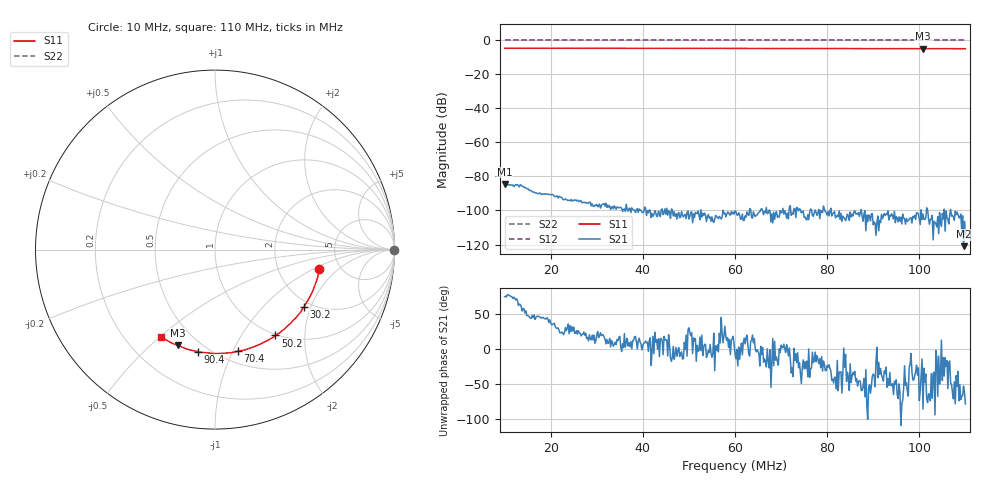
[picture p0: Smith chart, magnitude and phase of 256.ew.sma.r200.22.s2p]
! Anritsu VNA Master:  Model: MS2036C/10/77
! SN:  1601066
! /card0/usr/256.ew.sma.r200.22.s2p
! Existing Calibration Information:
! TYPE:  Current Settings,  Active Cal Settings
! TIME:  12/19/2017 02:46:55 PM,  12/19/2017 02:22:10 PM
! INTERNAL TEMP:  46.3 C,  45.0 C
! # POINTS:  501,  501
! START FREQ:  10.000 MHz,  10.000 MHz
! STOP FREQ:  110.000 MHz,  110.000 MHz
! SOURCE POWER:  High,  High
! IFBW:  100 Hz,  100 Hz
! AVG FACTOR:  1 ,  1
! REF PLANE 1:  0 mm,  0 mm
! REF PLANE 2:  0 mm,  0 mm
! CAL TYPE:  Full S11,  Full S11
! CAL METHOD:  SOLT,  SOLT
! CAL LINE TYPE:  Coax,  Coax
! DUT PORT 1:  N-Conn(F),  N-Conn(F)
! DUT PORT 2:  K-Conn(F),  K-Conn(F)
! CAL STATUS:  OK: Accuracy High,  --
# GHZ S DB R 50.0
! FREQ.GHZ  S11DB  S11A  S21DB  S21A  S12DB  S12A  S22DB  S22A
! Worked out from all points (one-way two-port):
!   501 points, 10 MHz to 110 MHz, reference 50 ohm
!   highest |S21| = -84.46 dB at 10 MHz (marker M1); lowest = -121.0 dB at 109.6 MHz (marker M2)
!   lowest |S11| = -4.9 dB at 100.8 MHz (marker M3), VSWR 3.66, Z = 19.3 - j30.5 ohm
!   |S11| at or under -10 dB: nowhere
!   |S22| runs from 0.0 to 0.0 dB; largest |S21 - S12| = 1
!   S11 on the Smith chart (normalised r, x): 10 MHz: 3.47, -1.17; 30.2 MHz: 1.83, -1.79; 50.2 MHz: 0.98, -1.43; 70.4 MHz: 0.61, -1.05; 90.4 MHz: 0.44, -0.75; 110 MHz: 0.35, -0.50
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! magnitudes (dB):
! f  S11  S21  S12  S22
! 10 MHz  -4.6  -84.5  0.0  0.0
! 14.6 MHz  -4.5  -86.7  0.0  0.0
! 26.8 MHz  -4.6  -95.5  0.0  0.0
! 30.2 MHz  -4.6  -97.8  0.0  0.0
! 33.2 MHz  -4.6  -98.2  0.0  0.0
! 38.8 MHz  -4.6  -98.9  0.0  0.0
! 43.4 MHz  -4.6  -100.3  0.0  0.0
! 44.6 MHz  -4.6  -101.3  0.0  0.0
! 50.2 MHz  -4.7  -103.5  0.0  0.0
! 51.8 MHz  -4.6  -101.8  0.0  0.0
! 60 MHz  -4.7  -100.2  0.0  0.0
! 66.6 MHz  -4.7  -101.3  0.0  0.0
! 70.4 MHz  -4.7  -98.8  0.0  0.0
! 76.8 MHz  -4.7  -103.0  0.0  0.0
! 81.2 MHz  -4.7  -101.7  0.0  0.0
! 90.4 MHz  -4.8  -107.5  0.0  0.0
! 93.4 MHz  -4.8  -105.6  0.0  0.0
! 96 MHz  -4.8  -103.9  0.0  0.0
! 100.8 MHz  -4.9  -102.1  0.0  0.0
! 103.4 MHz  -4.8  -107.0  0.0  0.0
! 109.6 MHz  -4.8  -121.0  0.0  0.0
! 110 MHz  -4.9  -114.0  0.0  0.0
